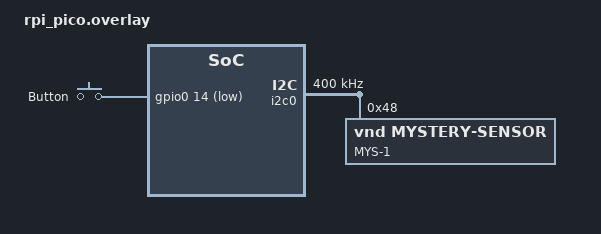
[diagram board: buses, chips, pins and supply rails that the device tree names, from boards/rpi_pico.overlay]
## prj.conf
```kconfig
CONFIG_GPIO=y
CONFIG_PRINTK=y
# The I2C subsystem. Its Kconfig menu (drivers/i2c/Kconfig, "if I2C") holds the DesignWare
# driver that the Pico's i2c0 node uses (CONFIG_I2C_DW). Without this line that driver is not
# compiled, and i2c_is_ready_dt() would return false.
CONFIG_I2C=y
```

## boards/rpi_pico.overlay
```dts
/*
 * boards/rpi_pico.overlay: this lesson's devices on the Pico.
 *
 *   GP14       push button, pressed = low (binding: dts/bindings/input/vnd,user-button.yaml)
 *   I2C0       GP4 = SDA, GP5 = SCL (the board's i2c0_default pinctrl), 400 kHz
 *   0x48       the MYS-1 sensor (binding: dts/bindings/sensor/vnd,mystery-sensor.yaml)
 */
#include <zephyr/dt-bindings/gpio/gpio.h>
#include <zephyr/dt-bindings/i2c/i2c.h>

&i2c0 {
	clock-frequency = <I2C_BITRATE_FAST>;
	status = "okay";

	/* One child node per device on the bus. reg is the 7-bit address, so the node name
	 * mystery@48 repeats it by convention. */
	mystery: mystery@48 {
		compatible = "vnd,mystery-sensor";
		reg = <0x48>;
		label = "MYS-1";
	};
};

/ {
	buttons {
		user_button: button_0 {
			compatible = "vnd,user-button";
			gpios = <&gpio0 14 (GPIO_ACTIVE_LOW | GPIO_PULL_UP)>;
			label = "Button";
		};
	};

	aliases {
		sw0 = &user_button;
	};
};
```

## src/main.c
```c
// EXPECT: MYSTERY WHO_AM_I 0xa7
// SIM: skip Zephyr's RP2040 I2C driver gets no answer from the chip in Wokwi (timeout -116); the Pico SDK version (0063) runs
/* Read the MYS-1 sensor over I2C through the driver model, and count button presses with a
 * GPIO interrupt. Both devices are described in boards/rpi_pico.overlay. */
#include <zephyr/kernel.h>
#include <zephyr/drivers/gpio.h>
#include <zephyr/drivers/i2c.h>
#include <zephyr/sys/printk.h>
#include <zephyr/sys/util.h>

#define MYS_REG_WHO_AM_I    0x0Fu   /* datasheet section 3.1 */
#define MYS_WHO_AM_I_VALUE  0xA7u   /* fixed identity value, reset value of WHO_AM_I */

/* I2C_DT_SPEC_GET() bundles the bus device (the parent of the node, i2c0) and the address
 * (the reg property, 0x48) into one struct. */
static const struct i2c_dt_spec sensor = I2C_DT_SPEC_GET(DT_NODELABEL(mystery));
static const struct gpio_dt_spec button = GPIO_DT_SPEC_GET(DT_ALIAS(sw0), gpios);

static struct gpio_callback button_cb;
static volatile uint32_t presses;

/* GPIO callbacks run in interrupt context. Keep them to a counter increment. */
static void button_pressed(const struct device *port, struct gpio_callback *cb, uint32_t pins)
{
    ARG_UNUSED(port);
    ARG_UNUSED(cb);
    ARG_UNUSED(pins);
    presses++;
}

/* Write the register pointer, then read one byte. i2c_write_read_dt() sends a repeated start
 * between the two phases, as the datasheet's "read one register" sequence requires. */
static int read_who_am_i(uint8_t *id)
{
    uint8_t reg = MYS_REG_WHO_AM_I;
    return i2c_write_read_dt(&sensor, &reg, 1, id, 1);
}

int main(void)
{
    /* Ready checks: the bus driver and the GPIO driver must have probed. */
    if (!i2c_is_ready_dt(&sensor)) {
        printk("I2C bus not ready\n");
        return 0;
    }
    if (!gpio_is_ready_dt(&button)) {
        printk("button not ready\n");
        return 0;
    }
    if (gpio_pin_configure_dt(&button, GPIO_INPUT) < 0 ||
        gpio_pin_interrupt_configure_dt(&button, GPIO_INT_EDGE_TO_ACTIVE) < 0) {
        printk("button setup failed\n");
        return 0;
    }
    /* The callback is registered for this pin only: BIT(pin) is the pin's bit in the mask. */
    gpio_init_callback(&button_cb, button_pressed, BIT(button.pin));
    gpio_add_callback_dt(&button, &button_cb);

    uint8_t id = 0;
    int rc = read_who_am_i(&id);
    if (rc != 0) {
        printk("MYSTERY no answer, error %d\n", rc);
    } else if (id != MYS_WHO_AM_I_VALUE) {
        printk("MYSTERY wrong id 0x%02x\n", id);
    } else {
        printk("MYSTERY WHO_AM_I 0x%02x\n", id);
    }

    while (1) {
        k_sleep(K_SECONDS(2));
        printk("button presses %u\n", presses);
    }
    return 0;
}
```
